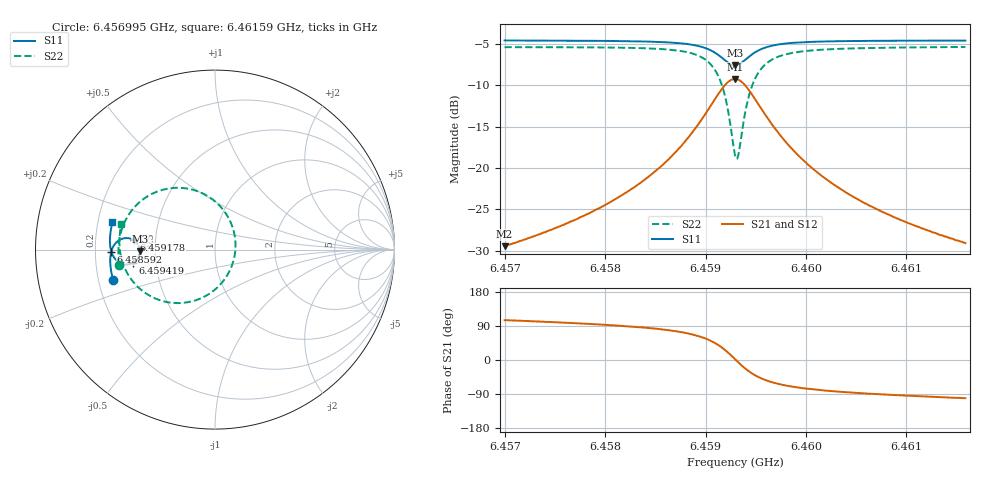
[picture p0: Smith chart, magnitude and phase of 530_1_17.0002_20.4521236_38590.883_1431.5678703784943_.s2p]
#  HZ  S  RI  R  50.00
! Rohde & Schwarz Vector Network Analyzer
! Rohde-Schwarz,ZNB20-2Port,1311601062101988,3.16
! Created: UTC 3/20/2024, 11:15:51 PM
! freq[Hz]  re:S11  im:S11  re:S21  im:S21  re:S12  im:S12  re:S22  im:S22
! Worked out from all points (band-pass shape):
!   401 points, 6.456995 GHz to 6.46159 GHz, reference 50 ohm
!   highest |S21| = -9.21 dB at 6.459292 GHz (marker M1); lowest = -29.5 dB at 6.456995 GHz (marker M2)
!   |S21| within 3 dB of the highest: 6.459063 GHz to 6.459522 GHz (459.1 kHz wide, 0.00711 % of centre)
!   lowest |S11| = -7.6 dB at 6.459292 GHz (marker M3), VSWR 2.44, Z = 20.5 - j0.465 ohm
!   |S11| at or under -10 dB: nowhere
!   |S22| runs from -18.9 to -5.3 dB; largest |S21 - S12| = 0.014
!   S11 on the Smith chart (normalised r, x): 6.456995 GHz: 0.26, -0.14; 6.458592 GHz: 0.27, -0.01; 6.459178 GHz: 0.37, +0.05; 6.459419 GHz: 0.37, -0.07; 6.46159 GHz: 0.26, +0.12
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6.4569951e9  -0.5671 -0.1708  -0.0087 0.0325  -0.00714 0.0325  -0.5329 -0.0833
6.4577647e9  -0.581 -0.1035  -0.00554 0.0505  -0.00297 0.05  -0.5381 0.00691
6.4581897e9  -0.5837 -0.0609  0.000536 0.0702  0.00377 0.0686  -0.5299 0.0744
6.4585343e9  -0.5799 -0.0197  0.0146 0.0988  0.0183 0.0962  -0.5041 0.1523
6.4585918e9  -0.578 -0.0119  0.0189 0.1058  0.0229 0.1027  -0.4959 0.1688
6.4587985e9  -0.5649 0.0203  0.0465 0.1382  0.0505 0.1333  -0.4439 0.2416
6.4589479e9  -0.5422 0.0465  0.0918 0.1687  0.095 0.1619  -0.3602 0.3061
6.4590857e9  -0.4983 0.0641  0.1792 0.1852  0.1802 0.1777  -0.2004 0.3445
6.4591776e9  -0.4538 0.0537  0.2693 0.1536  0.2694 0.1478  -0.0335 0.2935
6.4592465e9  -0.4248 0.0217  0.3298 0.0816  0.3319 0.0763  0.0821 0.1635
6.4592925e9  -0.4177 -0.00935  0.3461 0.0135  0.3498 0.00654  0.1142 0.0361
6.4593039e9  -0.4183 -0.0174  0.3458 -0.0044  0.3498 -0.0119  0.1139 0.00228
6.4593269e9  -0.4218 -0.0331  0.3403 -0.039  0.344 -0.0481  0.1025 -0.0639
6.4593729e9  -0.4374 -0.0591  0.3115 -0.0991  0.3137 -0.1111  0.0443 -0.1771
6.4594188e9  -0.4595 -0.0755  0.2692 -0.1402  0.2684 -0.1535  -0.0413 -0.2521
6.4595107e9  -0.5031 -0.0823  0.1842 -0.1714  0.1779 -0.1829  -0.2109 -0.2981
6.45966e9  -0.5467 -0.0617  0.0961 -0.1572  0.0876 -0.1634  -0.379 -0.2478
6.4598208e9  -0.5684 -0.0339  0.0513 -0.1291  0.0435 -0.1318  -0.4593 -0.1754
6.4600621e9  -0.5811 0.00159  0.0221 -0.0975  0.0162 -0.0981  -0.5074 -0.0926
6.4604182e9  -0.5855 0.0437  0.00583 -0.0699  0.00181 -0.0693  -0.5289 -0.0109
6.4608317e9  -0.5835 0.0853  -0.00165 -0.0521  -0.00441 -0.0511  -0.5326 0.0551
6.4615898e9  -0.5713 0.1524  -0.00654 -0.0345  -0.0084 -0.0337  -0.521 0.1448
